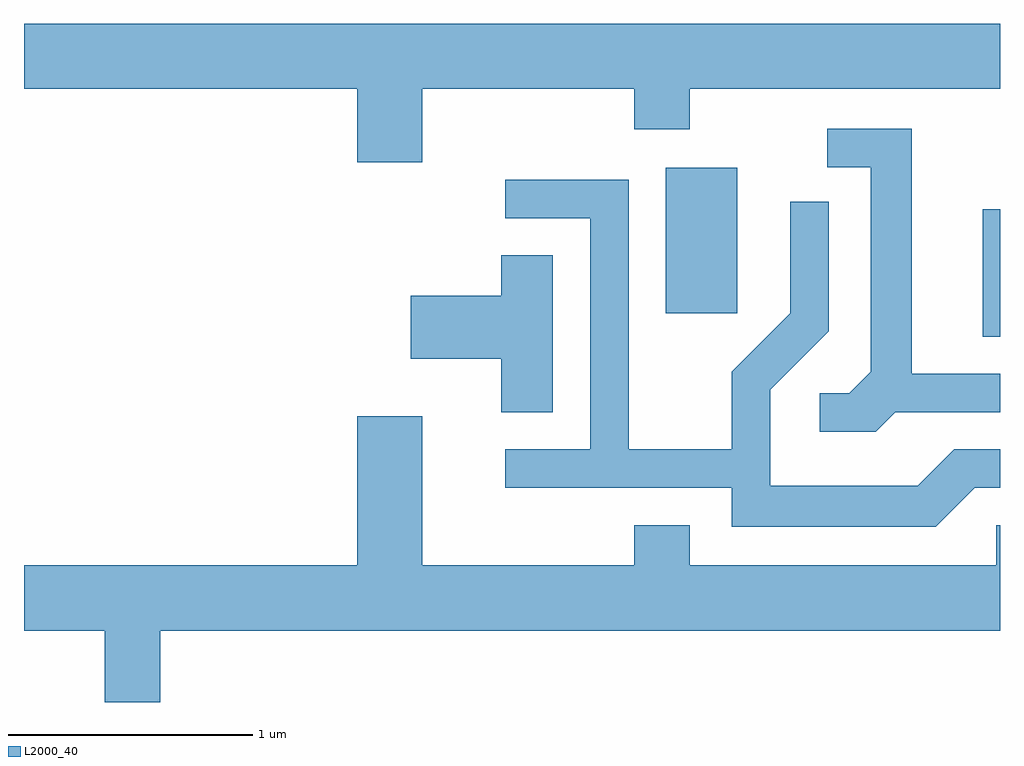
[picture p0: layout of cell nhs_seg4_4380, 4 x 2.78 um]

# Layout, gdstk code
import gdstk
lib = gdstk.Library(unit=1e-6, precision=1e-09)
def R(c, l, rs):  # rectangles x0, y0, x1, y1
    for r in rs: c.add(gdstk.rectangle(r[:2], r[2:], *l))
def P(c, l, *ps):  # polygons
    for p in ps: c.add(gdstk.Polygon(p, *l))
L2000_40 = (2000, 40)

nhs_seg4_4380 = lib.new_cell('nhs_seg4_4380')
R(nhs_seg4_4380, L2000_40, [(317.541,1311.481,317.611,1312.004), (316.241,1311.576,316.534,1312.174)])
P(nhs_seg4_4380, L2000_40, [(315.244,1312.496),(316.111,1312.496),(316.111,1312.331),(316.339,1312.331),(316.339,1312.496),(317.611,1312.496),(317.611,1312.764),(313.611,1312.764),(313.611,1312.496),(314.976,1312.496),(314.976,1312.196),(315.244,1312.196)],
  [(317.182,1311.171),(317.611,1311.171),(317.611,1311.329),(317.249,1311.329),(317.249,1312.334),(316.903,1312.334),(316.903,1312.176),(317.081,1312.176),(317.081,1311.337),(316.994,1311.249),(316.873,1311.249),(316.873,1311.091),(317.102,1311.091)],
  [(317.507,1310.861),(317.611,1310.861),(317.611,1311.019),(317.424,1311.019),(317.274,1310.869),(316.669,1310.869),(316.669,1311.264),(316.909,1311.504),(316.909,1312.033),(316.751,1312.033),(316.751,1311.577),(316.511,1311.337),(316.511,1311.019),(316.089,1311.019),(316.089,1312.124),(315.583,1312.124),(315.583,1311.966),(315.931,1311.966),(315.931,1311.019),(315.583,1311.019),(315.583,1310.861),(316.511,1310.861),(316.511,1310.701),(317.347,1310.701)],
  [(315.779,1311.814),(315.566,1311.814),(315.566,1311.649),(315.196,1311.649),(315.196,1311.391),(315.566,1311.391),(315.566,1311.171),(315.779,1311.171)],
  [(317.611,1310.709),(317.596,1310.709),(317.596,1310.544),(316.339,1310.544),(316.339,1310.709),(316.111,1310.709),(316.111,1310.544),(315.244,1310.544),(315.244,1311.154),(314.976,1311.154),(314.976,1310.544),(313.611,1310.544),(313.611,1310.276),(313.941,1310.276),(313.941,1309.982),(314.169,1309.982),(314.169,1310.276),(317.611,1310.276)])

lib.write_gds('nhs_seg4_4380.gds')
